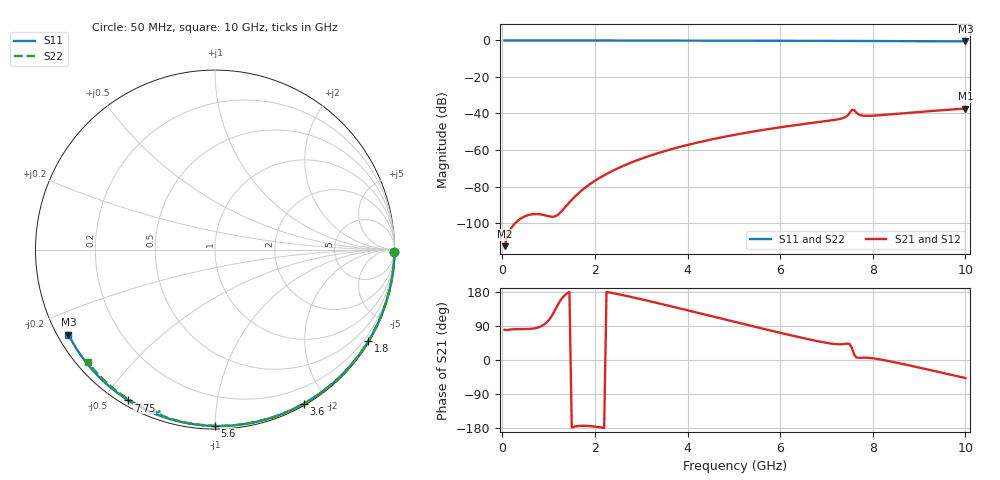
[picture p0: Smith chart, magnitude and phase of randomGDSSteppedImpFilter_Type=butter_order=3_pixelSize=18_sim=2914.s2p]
! freq	dB(S11)	phase(S11)	dB(S12)	phase(S12)
!  dB(S21)	phase(S21)	dB(S22)	phase(S22)
!S-par simulation data
#  GHz  S  DB  R 50
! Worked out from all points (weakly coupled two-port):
!   200 points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, 50 MHz to 10 GHz, reference 50 ohm
!   highest |S21| = -37.28 dB at 10 GHz (marker M1); lowest = -112.7 dB at 50 MHz (marker M2)
!   lowest |S11| = -0.5 dB at 10 GHz (marker M3), VSWR 34.46, Z = 1.56 - j13.4 ohm
!   |S11| at or under -10 dB: nowhere
!   |S22| runs from -0.5 to 0.0 dB; largest |S21 - S12| = 0
!   S11 on the Smith chart (normalised r, x): 50 MHz: open; 1.8 GHz: 0.03, -3.63; 3.6 GHz: 0.02, -1.73; 5.6 GHz: 0.02, -1.00; 7.75 GHz: 0.02, -0.58; 10 GHz: 0.03, -0.27
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0.05  -0.00 -0.9  -112.67 79.7  -112.67 79.7  -0.00 -0.8
0.9  -0.02 -15.6  -95.62 93.3  -95.62 93.3  -0.02 -14.4
1.75  -0.04 -30.0  -81.41 -173.5  -81.41 -173.5  -0.04 -27.7
1.8  -0.04 -30.8  -80.41 -173.7  -80.41 -173.7  -0.04 -28.4
2.2  -0.05 -37.4  -73.82 -179.3  -73.82 -179.3  -0.04 -34.6
2.5  -0.05 -42.4  -69.97 173.8  -69.97 173.8  -0.05 -39.2
2.9  -0.06 -48.9  -65.74 163.2  -65.74 163.2  -0.06 -45.2
3.4  -0.08 -56.9  -61.42 148.9  -61.42 148.9  -0.07 -52.6
3.6  -0.08 -60.0  -59.92 143.0  -59.92 143.0  -0.07 -55.6
4.3  -0.10 -70.8  -55.42 122.2  -55.42 122.2  -0.09 -65.6
5.05  -0.13 -82.1  -51.53 99.8  -51.53 99.8  -0.12 -76.1
5.6  -0.15 -90.1  -49.13 83.5  -49.13 83.5  -0.14 -83.6
6.7  -0.21 -105.6  -45.14 52.4  -45.14 52.4  -0.19 -98.1
7.35  -0.25 -114.5  -42.59 41.7  -42.59 41.7  -0.24 -106.6
7.45  -0.26 -115.8  -41.24 43.3  -41.24 43.3  -0.28 -108.1
7.55  -0.27 -117.1  -37.97 31.8  -37.97 31.8  -0.43 -109.2
7.6  -0.26 -117.8  -38.16 13.7  -38.16 13.7  -0.43 -108.9
7.65  -0.26 -118.5  -39.62 6.4  -39.62 6.4  -0.35 -109.4
7.75  -0.27 -119.9  -41.02 6.0  -41.02 6.0  -0.29 -110.8
7.95  -0.29 -122.5  -41.27 5.2  -41.27 5.2  -0.28 -113.5
8.35  -0.33 -127.9  -40.54 -3.0  -40.54 -3.0  -0.31 -118.5
10  -0.50 -149.9  -37.28 -47.6  -37.28 -47.6  -0.47 -138.6
